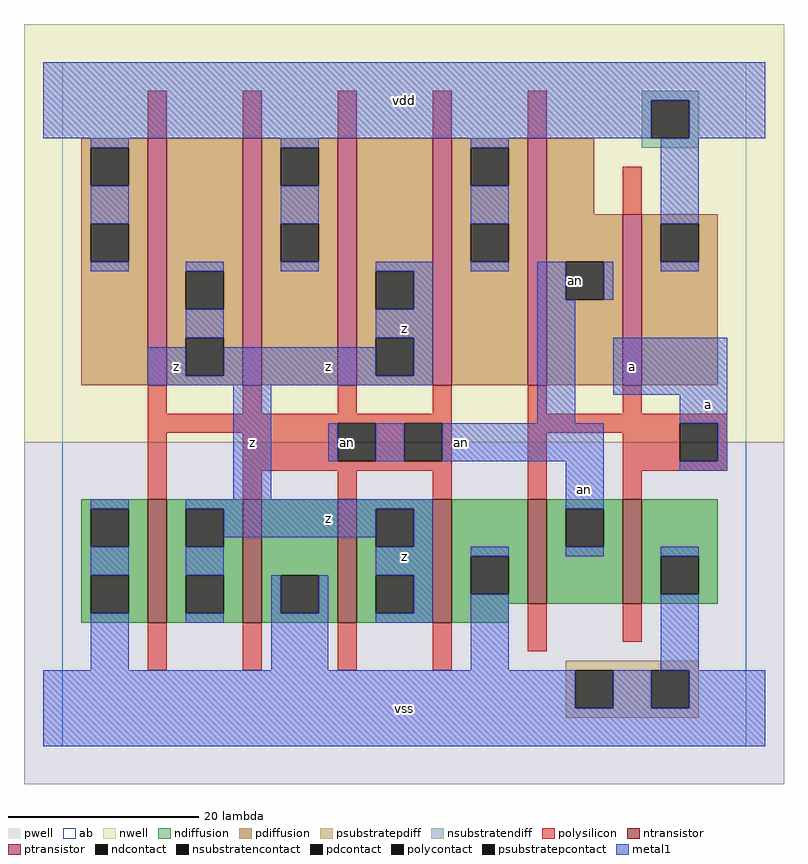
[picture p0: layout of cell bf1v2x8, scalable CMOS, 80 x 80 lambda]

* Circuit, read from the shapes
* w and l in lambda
.subckt bf1v2x8 a an vdd vss z
M1 z an vss vss nfet w=13 l=2 m=4
M2 an a vss vss nfet w=11 l=2 m=2
M3 z an vdd vdd pfet w=26 l=2 m=4
M4 an a vdd vdd pfet w=26 l=2
M5 vdd a an vdd pfet w=18 l=2
.ends

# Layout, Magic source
magic
tech scmos
<< ab >>
rect 0 0 72 72
<< pwell >>
rect -4 -4 76 32
<< nwell >>
rect -4 32 76 76
<< polysilicon >>
rect 9 64 11 69
rect 19 64 21 69
rect 29 64 31 69
rect 39 64 41 69
rect 49 64 51 69
rect 59 56 61 61
rect 9 35 11 38
rect 19 35 21 38
rect 29 35 31 38
rect 39 35 41 38
rect 9 34 41 35
rect 9 33 29 34
rect 9 26 11 33
rect 19 30 29 33
rect 33 30 36 34
rect 40 30 41 34
rect 19 29 41 30
rect 19 26 21 29
rect 29 26 31 29
rect 39 26 41 29
rect 49 35 51 38
rect 59 35 61 38
rect 49 34 70 35
rect 49 33 65 34
rect 49 26 51 33
rect 59 30 65 33
rect 69 30 70 34
rect 59 29 70 30
rect 59 26 61 29
rect 9 8 11 13
rect 19 8 21 13
rect 29 8 31 13
rect 39 8 41 13
rect 49 10 51 15
rect 59 11 61 15
<< ndiffusion >>
rect 2 25 9 26
rect 2 21 3 25
rect 7 21 9 25
rect 2 18 9 21
rect 2 14 3 18
rect 7 14 9 18
rect 2 13 9 14
rect 11 25 19 26
rect 11 21 13 25
rect 17 21 19 25
rect 11 18 19 21
rect 11 14 13 18
rect 17 14 19 18
rect 11 13 19 14
rect 21 18 29 26
rect 21 14 23 18
rect 27 14 29 18
rect 21 13 29 14
rect 31 25 39 26
rect 31 21 33 25
rect 37 21 39 25
rect 31 18 39 21
rect 31 14 33 18
rect 37 14 39 18
rect 31 13 39 14
rect 41 20 49 26
rect 41 16 43 20
rect 47 16 49 20
rect 41 15 49 16
rect 51 25 59 26
rect 51 21 53 25
rect 57 21 59 25
rect 51 15 59 21
rect 61 20 69 26
rect 61 16 63 20
rect 67 16 69 20
rect 61 15 69 16
rect 41 13 47 15
<< pdiffusion >>
rect 2 63 9 64
rect 2 59 3 63
rect 7 59 9 63
rect 2 55 9 59
rect 2 51 3 55
rect 7 51 9 55
rect 2 38 9 51
rect 11 50 19 64
rect 11 46 13 50
rect 17 46 19 50
rect 11 43 19 46
rect 11 39 13 43
rect 17 39 19 43
rect 11 38 19 39
rect 21 63 29 64
rect 21 59 23 63
rect 27 59 29 63
rect 21 55 29 59
rect 21 51 23 55
rect 27 51 29 55
rect 21 38 29 51
rect 31 50 39 64
rect 31 46 33 50
rect 37 46 39 50
rect 31 43 39 46
rect 31 39 33 43
rect 37 39 39 43
rect 31 38 39 39
rect 41 63 49 64
rect 41 59 43 63
rect 47 59 49 63
rect 41 55 49 59
rect 41 51 43 55
rect 47 51 49 55
rect 41 38 49 51
rect 51 56 56 64
rect 51 51 59 56
rect 51 47 53 51
rect 57 47 59 51
rect 51 38 59 47
rect 61 55 69 56
rect 61 51 63 55
rect 67 51 69 55
rect 61 38 69 51
<< metal1 >>
rect -2 68 74 72
rect -2 64 62 68
rect 66 64 74 68
rect 3 63 7 64
rect 3 55 7 59
rect 23 63 27 64
rect 23 55 27 59
rect 43 63 47 64
rect 43 55 47 59
rect 63 55 67 64
rect 3 50 7 51
rect 13 50 17 51
rect 23 50 27 51
rect 33 50 39 51
rect 43 50 47 51
rect 13 43 17 46
rect 9 39 13 42
rect 37 46 39 50
rect 33 43 39 46
rect 17 39 33 42
rect 37 39 39 43
rect 9 38 39 39
rect 50 47 53 51
rect 57 47 58 51
rect 63 50 67 51
rect 18 26 22 38
rect 50 34 54 47
rect 58 37 70 43
rect 65 34 70 37
rect 28 30 29 34
rect 33 30 36 34
rect 40 30 57 34
rect 3 25 7 26
rect 3 18 7 21
rect 3 8 7 14
rect 13 25 39 26
rect 17 22 33 25
rect 13 18 17 21
rect 37 21 39 25
rect 53 25 57 30
rect 69 30 70 34
rect 65 29 70 30
rect 33 18 39 21
rect 13 13 17 14
rect 22 14 23 18
rect 27 14 28 18
rect 22 8 28 14
rect 37 14 39 18
rect 33 13 39 14
rect 43 20 47 21
rect 53 20 57 21
rect 63 20 67 21
rect 43 8 47 16
rect 63 8 67 16
rect -2 4 54 8
rect 58 4 62 8
rect 66 4 74 8
rect -2 0 74 4
<< ntransistor >>
rect 9 13 11 26
rect 19 13 21 26
rect 29 13 31 26
rect 39 13 41 26
rect 49 15 51 26
rect 59 15 61 26
<< ptransistor >>
rect 9 38 11 64
rect 19 38 21 64
rect 29 38 31 64
rect 39 38 41 64
rect 49 38 51 64
rect 59 38 61 56
<< polycontact >>
rect 29 30 33 34
rect 36 30 40 34
rect 65 30 69 34
<< ndcontact >>
rect 3 21 7 25
rect 3 14 7 18
rect 13 21 17 25
rect 13 14 17 18
rect 23 14 27 18
rect 33 21 37 25
rect 33 14 37 18
rect 43 16 47 20
rect 53 21 57 25
rect 63 16 67 20
<< pdcontact >>
rect 3 59 7 63
rect 3 51 7 55
rect 13 46 17 50
rect 13 39 17 43
rect 23 59 27 63
rect 23 51 27 55
rect 33 46 37 50
rect 33 39 37 43
rect 43 59 47 63
rect 43 51 47 55
rect 53 47 57 51
rect 63 51 67 55
<< psubstratepcontact >>
rect 54 4 58 8
rect 62 4 66 8
<< nsubstratencontact >>
rect 62 64 66 68
<< psubstratepdiff >>
rect 53 8 67 9
rect 53 4 54 8
rect 58 4 62 8
rect 66 4 67 8
rect 53 3 67 4
<< nsubstratendiff >>
rect 61 68 67 69
rect 61 64 62 68
rect 66 64 67 68
rect 61 63 67 64
<< labels >>
rlabel polycontact 30 32 30 32 6 an
rlabel metal1 12 40 12 40 6 z
rlabel metal1 20 32 20 32 6 z
rlabel metal1 28 24 28 24 6 z
rlabel metal1 28 40 28 40 6 z
rlabel metal1 36 4 36 4 6 vss
rlabel metal1 36 20 36 20 6 z
rlabel metal1 36 44 36 44 6 z
rlabel metal1 36 68 36 68 6 vdd
rlabel metal1 55 27 55 27 6 an
rlabel metal1 42 32 42 32 6 an
rlabel metal1 60 40 60 40 6 a
rlabel metal1 68 36 68 36 6 a
rlabel pdcontact 54 49 54 49 6 an
<< end >>
